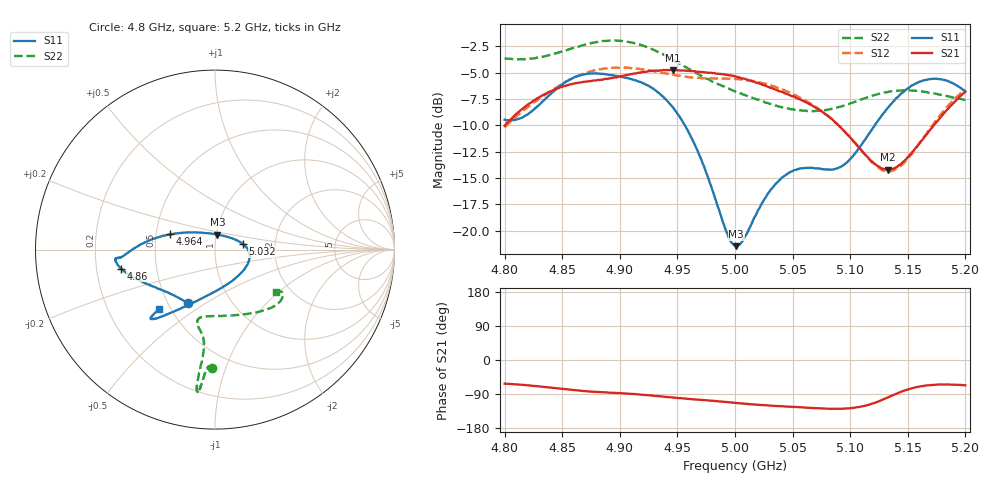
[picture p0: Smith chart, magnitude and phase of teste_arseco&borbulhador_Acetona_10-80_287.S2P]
! Network Analyzer HP8722D
! Hewlett-Packard
! Data name: Linha & Wilkinson
! Saver's name: Rodrigo Anjos
! Comments: Teste da utilização de aquisição
! continua pelo VNA HP8722D
! Time and date: 17/4/2025 16:45
!  Frequency  S11  S21  S12  S22
# HZ  S  MA R 50
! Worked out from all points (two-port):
!   401 points, 4.8 GHz to 5.2 GHz, reference 50 ohm
!   highest |S21| = -4.73 dB at 4.946 GHz (marker M1); lowest = -14.2 dB at 5.133 GHz (marker M2)
!   |S21| within 3 dB of the highest: 4.824 GHz to 5.06 GHz (235.8 MHz wide, 4.77 % of centre); 5.190956 GHz to end of sweep
!   lowest |S11| = -21.5 dB at 5.001 GHz (marker M3), VSWR 1.18, Z = 50.7 + j8.52 ohm
!   |S11| at or under -10 dB: 4.956 GHz to 5.121 GHz (164.8 MHz wide, 3.27 % of centre)
!   |S22| runs from -8.7 to -1.9 dB; largest |S21 - S12| = 0.87
!   S11 on the Smith chart (normalised r, x): 4.8 GHz: 0.63, -0.42; 4.86 GHz: 0.31, -0.09; 4.964 GHz: 0.59, +0.11; 5.032 GHz: 1.37, +0.09; 5.2 GHz: 0.43, -0.36
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4.8e9  0.3365 -116.8  0.315 -62.3  0.3096 -176.5  0.6573 -91.5
4.819e9  0.3543 -137.1  0.3918 -66.6  0.3815 -176.2  0.653 -93.1
4.86e9  0.5332 -168.6  0.4992 -79.2  0.5316 -179.5  0.736 -95.4
4.867e9  0.5492 -171.2  0.5068 -81.5  0.5505 179.2  0.7566 -95.8
4.9e9  0.5392 -175.2  0.539 -87.4  0.5943 173.1  0.7963 -97.2
4.934e9  0.4504 179.1  0.5752 -95.7  0.566 169.9  0.7014 -97.4
4.946e9  0.3851 173.5  0.58 -99.1  0.5498 170.3  0.6487 -97.0
4.964e9  0.2638 161.2  0.572 -103.6  0.5326 171.9  0.5699 -96.4
4.993e9  0.09797 111.5  0.5486 -111.1  0.5266 174.2  0.4764 -98.9
5e9  0.08541 84.6  0.5403 -113.1  0.5255 174.1  0.4584 -100.2
5.001e9  0.0846 80.6  0.5385 -113.2  0.5246 174.3  0.4572 -100.5
5.008e9  0.0924 54.8  0.5262 -115.3  0.5197 174.0  0.4416 -101.9
5.032e9  0.1587 11.5  0.475 -120.7  0.4872 173.0  0.3984 -103.5
5.049e9  0.1909 -4.8  0.4353 -123.5  0.4475 172.3  0.3771 -98.7
5.067e9  0.1991 -24.2  0.3931 -126.6  0.3969 172.1  0.3694 -88.3
5.096e9  0.2087 -74.6  0.2917 -128.0  0.2932 174.7  0.3951 -65.9
5.119e9  0.3035 -109.5  0.2132 -115.2  0.2107 -170.5  0.4371 -50.5
5.133e9  0.3847 -120.7  0.195 -98.1  0.1912 -151.5  0.4565 -43.6
5.134e9  0.3904 -121.4  0.1951 -96.8  0.1913 -150.0  0.4576 -43.3
5.148e9  0.4653 -127.7  0.2173 -79.7  0.2135 -129.9  0.4638 -38.2
5.168e9  0.5228 -132.2  0.2946 -66.9  0.2984 -113.2  0.4518 -33.4
5.2e9  0.457 -133.3  0.4574 -66.9  0.4681 -109.1  0.4172 -34.9
